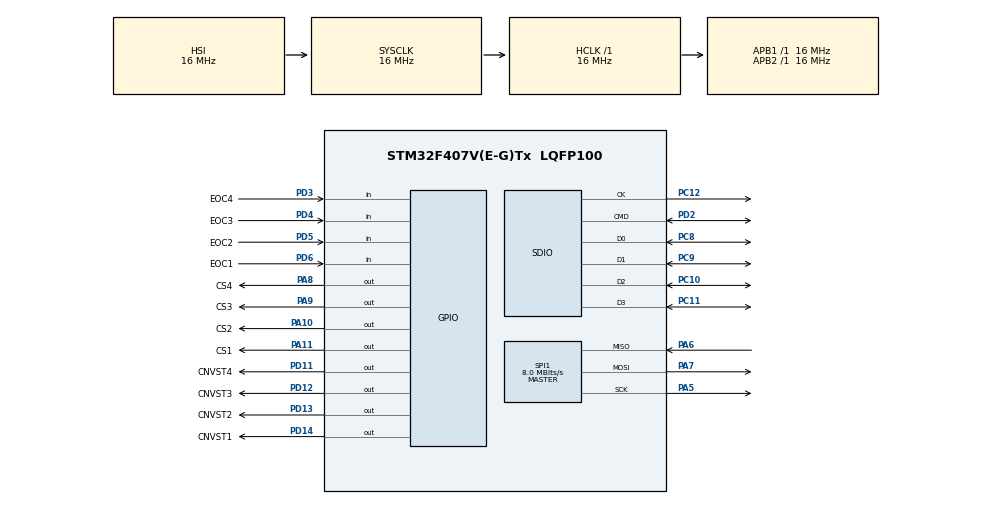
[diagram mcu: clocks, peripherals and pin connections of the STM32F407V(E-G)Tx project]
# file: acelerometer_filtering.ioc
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Dma.Request0=SDIO_RX
Dma.Request1=SPI1_RX
Dma.SDIO_RX.0.Direction=DMA_PERIPH_TO_MEMORY
Dma.SDIO_RX.0.FIFOMode=DMA_FIFOMODE_ENABLE
Dma.SDIO_RX.0.FIFOThreshold=DMA_FIFO_THRESHOLD_FULL
Dma.SDIO_RX.0.Instance=DMA2_Stream3
Dma.SDIO_RX.0.MemBurst=DMA_MBURST_INC4
Dma.SDIO_RX.0.MemDataAlignment=DMA_MDATAALIGN_WORD
Dma.SDIO_RX.0.MemInc=DMA_MINC_ENABLE
Dma.SDIO_RX.0.Mode=DMA_PFCTRL
Dma.SDIO_RX.0.PeriphBurst=DMA_PBURST_INC4
Dma.SDIO_RX.0.PeriphDataAlignment=DMA_PDATAALIGN_WORD
Dma.SDIO_RX.0.PeriphInc=DMA_PINC_DISABLE
Dma.SDIO_RX.0.Priority=DMA_PRIORITY_LOW
Dma.SPI1_RX.1.Direction=DMA_PERIPH_TO_MEMORY
Dma.SPI1_RX.1.FIFOMode=DMA_FIFOMODE_DISABLE
Dma.SPI1_RX.1.Instance=DMA2_Stream0
Dma.SPI1_RX.1.MemDataAlignment=DMA_MDATAALIGN_BYTE
Dma.SPI1_RX.1.MemInc=DMA_MINC_ENABLE
Dma.SPI1_RX.1.Mode=DMA_NORMAL
Dma.SPI1_RX.1.PeriphDataAlignment=DMA_PDATAALIGN_BYTE
Dma.SPI1_RX.1.PeriphInc=DMA_PINC_DISABLE
Dma.SPI1_RX.1.Priority=DMA_PRIORITY_LOW
Mcu.Family=STM32F4
Mcu.Name=STM32F407V(E-G)Tx
Mcu.Package=LQFP100
NVIC.DMA2_Stream0_IRQn=true\:0\:0\:false\:false\:true\:false
NVIC.DMA2_Stream3_IRQn=true\:0\:0\:false\:false\:true\:false
NVIC.PriorityGroup=NVIC_PRIORITYGROUP_4
NVIC.SDIO_IRQn=true\:0\:0\:false\:false\:true\:true
PA10.GPIO_Label=CS2
PA10.GPIO_ModeDefaultOutputPP=GPIO_MODE_OUTPUT_PP
PA10.GPIO_PuPd=GPIO_NOPULL
PA10.GPIO_Speed=GPIO_SPEED_FREQ_LOW
PA10.PinState=GPIO_PIN_RESET
PA10.Signal=GPIO_Output
PA11.GPIO_Label=CS1
PA11.GPIO_ModeDefaultOutputPP=GPIO_MODE_OUTPUT_PP
PA11.GPIO_PuPd=GPIO_NOPULL
PA11.GPIO_Speed=GPIO_SPEED_FREQ_LOW
PA11.PinState=GPIO_PIN_RESET
PA11.Signal=GPIO_Output
PA5.Mode=Full_Duplex_Master
PA5.Signal=SPI1_SCK
PA6.Mode=Full_Duplex_Master
PA6.Signal=SPI1_MISO
PA7.Mode=Full_Duplex_Master
PA7.Signal=SPI1_MOSI
PA8.GPIO_Label=CS4
PA8.GPIO_ModeDefaultOutputPP=GPIO_MODE_OUTPUT_PP
PA8.GPIO_PuPd=GPIO_NOPULL
PA8.GPIO_Speed=GPIO_SPEED_FREQ_LOW
PA8.PinState=GPIO_PIN_RESET
PA8.Signal=GPIO_Output
PA9.GPIO_Label=CS3
PA9.GPIO_ModeDefaultOutputPP=GPIO_MODE_OUTPUT_PP
PA9.GPIO_PuPd=GPIO_NOPULL
PA9.GPIO_Speed=GPIO_SPEED_FREQ_LOW
PA9.PinState=GPIO_PIN_RESET
PA9.Signal=GPIO_Output
PC10.Mode=SD_4_bits_Wide_bus
PC10.Signal=SDIO_D2
PC11.Mode=SD_4_bits_Wide_bus
PC11.Signal=SDIO_D3
PC12.Mode=SD_4_bits_Wide_bus
PC12.Signal=SDIO_CK
PC14-OSC32_IN.Mode=LSE-External-Clock-Source
PC14-OSC32_IN.Signal=RCC_OSC32_IN
PC15-OSC32_OUT.Mode=LSE-External-Clock-Source
PC15-OSC32_OUT.Signal=RCC_OSC32_OUT
PC8.Mode=SD_4_bits_Wide_bus
PC8.Signal=SDIO_D0
PC9.Mode=SD_4_bits_Wide_bus
PC9.Signal=SDIO_D1
PD11.GPIO_Label=CNVST4
PD11.GPIO_ModeDefaultOutputPP=GPIO_MODE_OUTPUT_PP
PD11.GPIO_PuPd=GPIO_NOPULL
PD11.GPIO_Speed=GPIO_SPEED_FREQ_LOW
PD11.PinState=GPIO_PIN_RESET
PD11.Signal=GPIO_Output
PD12.GPIO_Label=CNVST3
PD12.GPIO_ModeDefaultOutputPP=GPIO_MODE_OUTPUT_PP
PD12.GPIO_PuPd=GPIO_NOPULL
PD12.GPIO_Speed=GPIO_SPEED_FREQ_LOW
PD12.PinState=GPIO_PIN_RESET
PD12.Signal=GPIO_Output
PD13.GPIO_Label=CNVST2
PD13.GPIO_ModeDefaultOutputPP=GPIO_MODE_OUTPUT_PP
PD13.GPIO_PuPd=GPIO_NOPULL
PD13.GPIO_Speed=GPIO_SPEED_FREQ_LOW
PD13.PinState=GPIO_PIN_RESET
PD13.Signal=GPIO_Output
PD14.GPIO_Label=CNVST1
PD14.GPIO_ModeDefaultOutputPP=GPIO_MODE_OUTPUT_PP
PD14.GPIO_PuPd=GPIO_NOPULL
PD14.GPIO_Speed=GPIO_SPEED_FREQ_LOW
PD14.PinState=GPIO_PIN_RESET
PD14.Signal=GPIO_Output
PD2.Mode=SD_4_bits_Wide_bus
PD2.Signal=SDIO_CMD
PD3.GPIO_Label=EOC4
PD3.Signal=GPIO_Input
PD4.GPIO_Label=EOC3
PD4.Signal=GPIO_Input
PD5.GPIO_Label=EOC2
PD5.Signal=GPIO_Input
PD6.GPIO_Label=EOC1
PD6.Signal=GPIO_Input
PH0-OSC_IN.Mode=HSE-External-Oscillator
PH0-OSC_IN.Signal=RCC_OSC_IN
PH1-OSC_OUT.Mode=HSE-External-Oscillator
PH1-OSC_OUT.Signal=RCC_OSC_OUT
ProjectManager.HeapSize=0x200
ProjectManager.StackSize=0x400
ProjectManager.TargetToolchain=Makefile
RCC.AHBFreq_Value=16000000
RCC.APB1Freq_Value=16000000
RCC.APB2Freq_Value=16000000
RCC.CortexFreq_Value=16000000
RCC.HSE_VALUE=25000000
RCC.HSI_VALUE=16000000
RCC.LSE_VALUE=32768
RCC.SYSCLKFreq_VALUE=16000000
RCC.VCOOutputFreq_Value=192000000
SPI1.CalculateBaudRate=8.0 MBits/s
SPI1.Direction=SPI_DIRECTION_2LINES
SPI1.Mode=SPI_MODE_MASTER
SPI1.VirtualType=VM_MASTER
board=custom

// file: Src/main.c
/* USER CODE BEGIN Header */
/**
  ******************************************************************************
  * @file           : main.c
  * @brief          : Main program body
  ******************************************************************************
  ** This notice applies to any and all portions of this file
  * that are not between comment pairs USER CODE BEGIN and
  * USER CODE END. Other portions of this file, whether
  * inserted by the user or by software development tools
  * are owned by their respective copyright owners.
  *
  * COPYRIGHT(c) 2019 STMicroelectronics
  *
  * Redistribution and use in source and binary forms, with or without modification,
  * are permitted provided that the following conditions are met:
  *   1. Redistributions of source code must retain the above copyright notice,
  *      this list of conditions and the following disclaimer.
  *   2. Redistributions in binary form must reproduce the above copyright notice,
  *      this list of conditions and the following disclaimer in the documentation
  *      and/or other materials provided with the distribution.
  *   3. Neither the name of STMicroelectronics nor the names of its contributors
  *      may be used to endorse or promote products derived from this software
  *      without specific prior written permission.
  *
  * THIS SOFTWARE IS PROVIDED BY THE COPYRIGHT HOLDERS AND CONTRIBUTORS "AS IS"
  * AND ANY EXPRESS OR IMPLIED WARRANTIES, INCLUDING, BUT NOT LIMITED TO, THE
  * IMPLIED WARRANTIES OF MERCHANTABILITY AND FITNESS FOR A PARTICULAR PURPOSE ARE
  * DISCLAIMED. IN NO EVENT SHALL THE COPYRIGHT HOLDER OR CONTRIBUTORS BE LIABLE
  * FOR ANY DIRECT, INDIRECT, INCIDENTAL, SPECIAL, EXEMPLARY, OR CONSEQUENTIAL
  * DAMAGES (INCLUDING, BUT NOT LIMITED TO, PROCUREMENT OF SUBSTITUTE GOODS OR
  * SERVICES; LOSS OF USE, DATA, OR PROFITS; OR BUSINESS INTERRUPTION) HOWEVER
  * CAUSED AND ON ANY THEORY OF LIABILITY, WHETHER IN CONTRACT, STRICT LIABILITY,
  * OR TORT (INCLUDING NEGLIGENCE OR OTHERWISE) ARISING IN ANY WAY OUT OF THE USE
  * OF THIS SOFTWARE, EVEN IF ADVISED OF THE POSSIBILITY OF SUCH DAMAGE.
  *
  ******************************************************************************
  */
/* USER CODE END Header */

#include "main.h"

/* USER CODE BEGIN Includes */
//#include "arm_math.h"

/* USER CODE END Includes */

/* USER CODE BEGIN PD */
#define CONV_FLAG	(0x80)
#define SCAN_MODE_NONE 	(0x06)
#define SCAN_MODE_0_N  	(0x00)
#define SCAN_MODE_N_4 	(0x04)
#define CH_SEL_FLAG		(0x01 << 3)
#define SETUP_FLAG		(0x40)
#define CL_SEL			(0x01 << 4)
#define REF_SEL	(0x02 << 2)
#define SDCARDSIZE		(10)
/* USER CODE END PD */

SD_HandleTypeDef hsd;
DMA_HandleTypeDef hdma_sdio_rx;

SPI_HandleTypeDef hspi1;
DMA_HandleTypeDef hdma_spi1_rx;

/* USER CODE BEGIN PV */

uint8_t tx_buf[] = {
	0x00, 0x00, 0x00, 0x00
};
uint8_t rx_buf[4];

//uint8_t sd_buf[SDCARDSIZE] = {
//	0x41, 0x42, 0x43, 0x44, 0x45, 0x46, 0x47,0x48, 0x49, 0x4A
//};

char sd_buf[SDCARDSIZE] = "animeboobs";

uint32_t sd_card_addr = 0;

/* USER CODE END PV */

void SystemClock_Config(void);
static void MX_GPIO_Init(void);
static void MX_DMA_Init(void);
static void MX_SDIO_SD_Init(void);
static void MX_SPI1_Init(void);

int main(void)
{

  /* MCU Configuration--------------------------------------------------------*/

  /* Reset of all peripherals, Initializes the Flash interface and the Systick. */
  HAL_Init();

  /* Configure the system clock */
  SystemClock_Config();

  /* Initialize all configured peripherals */
  MX_GPIO_Init();
  MX_DMA_Init();
  MX_SDIO_SD_Init();
  MX_SPI1_Init();
  /* USER CODE BEGIN 2 */
  HAL_GPIO_WritePin(GPIOA, CS1_Pin, GPIO_PIN_SET);
  HAL_GPIO_WritePin(GPIOA, CNVST1_Pin, GPIO_PIN_SET);
  ADC_Setup(CS1_Pin);
  /* USER CODE END 2 */

  /* Infinite loop */
  while (1)
  {

    /* USER CODE BEGIN 3 */
//	  HAL_GPIO_WritePin(GPIOA, CS1_Pin, GPIO_PIN_RESET);
//	  HAL_GPIO_WritePin(GPIOA, CNVST1_Pin, GPIO_PIN_RESET);
//	 HAL_SPI_Transmit_DMA(&hspi2, &tx_buf, 2);
//	  HAL_GPIO_WritePin(GPIOA, CS1_Pin, GPIO_PIN_SET);
//	  HAL_GPIO_WritePin(GPIOA, CNVST1_Pin, GPIO_PIN_SET);
//	  HAL_GPIO_TogglePin(GPIOA, CS1_Pin);
	  read_accel(CS1_Pin);
	write_to_sd();
	 //HAL_SPI_TransmitReceive(&hspi1, &tx_buf, &rx_buf, 2, 2000);
  }
  /* USER CODE END 3 */
}

void SystemClock_Config(void)
{
  RCC_OscInitTypeDef RCC_OscInitStruct = {0};
  RCC_ClkInitTypeDef RCC_ClkInitStruct = {0};

  /**Configure the main internal regulator output voltage
  */
  __HAL_RCC_PWR_CLK_ENABLE();
  __HAL_PWR_VOLTAGESCALING_CONFIG(PWR_REGULATOR_VOLTAGE_SCALE1);
  /**Initializes the CPU, AHB and APB busses clocks
  */
  RCC_OscInitStruct.OscillatorType = RCC_OSCILLATORTYPE_HSI;
  RCC_OscInitStruct.HSIState = RCC_HSI_ON;
  RCC_OscInitStruct.HSICalibrationValue = RCC_HSICALIBRATION_DEFAULT;
  RCC_OscInitStruct.PLL.PLLState = RCC_PLL_ON;
  RCC_OscInitStruct.PLL.PLLSource = RCC_PLLSOURCE_HSI;
  RCC_OscInitStruct.PLL.PLLM = 16;
  RCC_OscInitStruct.PLL.PLLN = 192;
  RCC_OscInitStruct.PLL.PLLP = RCC_PLLP_DIV2;
  RCC_OscInitStruct.PLL.PLLQ = 4;
  if (HAL_RCC_OscConfig(&RCC_OscInitStruct) != HAL_OK)
  {
    Error_Handler();
  }
  /**Initializes the CPU, AHB and APB busses clocks
  */
  RCC_ClkInitStruct.ClockType = RCC_CLOCKTYPE_HCLK|RCC_CLOCKTYPE_SYSCLK
                              |RCC_CLOCKTYPE_PCLK1|RCC_CLOCKTYPE_PCLK2;
  RCC_ClkInitStruct.SYSCLKSource = RCC_SYSCLKSOURCE_HSI;
  RCC_ClkInitStruct.AHBCLKDivider = RCC_SYSCLK_DIV1;
  RCC_ClkInitStruct.APB1CLKDivider = RCC_HCLK_DIV1;
  RCC_ClkInitStruct.APB2CLKDivider = RCC_HCLK_DIV1;

  if (HAL_RCC_ClockConfig(&RCC_ClkInitStruct, FLASH_LATENCY_0) != HAL_OK)
  {
    Error_Handler();
  }
}

static void MX_SDIO_SD_Init(void)
{

  hsd.Instance = SDIO;
  hsd.Init.ClockEdge = SDIO_CLOCK_EDGE_RISING;
  hsd.Init.ClockBypass = SDIO_CLOCK_BYPASS_DISABLE;
  hsd.Init.ClockPowerSave = SDIO_CLOCK_POWER_SAVE_DISABLE;
  hsd.Init.BusWide = SDIO_BUS_WIDE_1B;
  hsd.Init.HardwareFlowControl = SDIO_HARDWARE_FLOW_CONTROL_DISABLE;
  hsd.Init.ClockDiv = 0;
  if (HAL_SD_Init(&hsd) != HAL_OK)
  {
    Error_Handler();
  }
  if (HAL_SD_ConfigWideBusOperation(&hsd, SDIO_BUS_WIDE_4B) != HAL_OK)
  {
    Error_Handler();
  }

}

static void MX_SPI1_Init(void)
{

  /* SPI1 parameter configuration*/
  hspi1.Instance = SPI1;
  hspi1.Init.Mode = SPI_MODE_MASTER;
  hspi1.Init.Direction = SPI_DIRECTION_2LINES;
  hspi1.Init.DataSize = SPI_DATASIZE_8BIT;
  hspi1.Init.CLKPolarity = SPI_POLARITY_LOW;
  hspi1.Init.CLKPhase = SPI_PHASE_1EDGE;
  hspi1.Init.NSS = SPI_NSS_SOFT;
  hspi1.Init.BaudRatePrescaler = SPI_BAUDRATEPRESCALER_2;
  hspi1.Init.FirstBit = SPI_FIRSTBIT_MSB;
  hspi1.Init.TIMode = SPI_TIMODE_DISABLE;
  hspi1.Init.CRCCalculation = SPI_CRCCALCULATION_DISABLE;
  hspi1.Init.CRCPolynomial = 10;
  if (HAL_SPI_Init(&hspi1) != HAL_OK)
  {
    Error_Handler();
  }

}

static void MX_DMA_Init(void)
{
  /* DMA controller clock enable */
  __HAL_RCC_DMA2_CLK_ENABLE();

  /* DMA interrupt init */
  /* DMA2_Stream0_IRQn interrupt configuration */
  HAL_NVIC_SetPriority(DMA2_Stream0_IRQn, 0, 0);
  HAL_NVIC_EnableIRQ(DMA2_Stream0_IRQn);
  /* DMA2_Stream3_IRQn interrupt configuration */
  HAL_NVIC_SetPriority(DMA2_Stream3_IRQn, 0, 0);
  HAL_NVIC_EnableIRQ(DMA2_Stream3_IRQn);

}

static void MX_GPIO_Init(void)
{
  GPIO_InitTypeDef GPIO_InitStruct = {0};

  /* GPIO Ports Clock Enable */
  __HAL_RCC_GPIOC_CLK_ENABLE();
  __HAL_RCC_GPIOH_CLK_ENABLE();
  __HAL_RCC_GPIOA_CLK_ENABLE();
  __HAL_RCC_GPIOD_CLK_ENABLE();

  /*Configure GPIO pin Output Level */
  HAL_GPIO_WritePin(GPIOD, CNVST4_Pin|CNVST3_Pin|CNVST2_Pin|CNVST1_Pin, GPIO_PIN_RESET);

  /*Configure GPIO pin Output Level */
  HAL_GPIO_WritePin(GPIOA, CS4_Pin|CS3_Pin|CS2_Pin|CS1_Pin, GPIO_PIN_RESET);

  /*Configure GPIO pins : CNVST4_Pin CNVST3_Pin CNVST2_Pin CNVST1_Pin */
  GPIO_InitStruct.Pin = CNVST4_Pin|CNVST3_Pin|CNVST2_Pin|CNVST1_Pin;
  GPIO_InitStruct.Mode = GPIO_MODE_OUTPUT_PP;
  GPIO_InitStruct.Pull = GPIO_NOPULL;
  GPIO_InitStruct.Speed = GPIO_SPEED_FREQ_LOW;
  HAL_GPIO_Init(GPIOD, &GPIO_InitStruct);

  /*Configure GPIO pins : CS4_Pin CS3_Pin CS2_Pin CS1_Pin */
  GPIO_InitStruct.Pin = CS4_Pin|CS3_Pin|CS2_Pin|CS1_Pin;
  GPIO_InitStruct.Mode = GPIO_MODE_OUTPUT_PP;
  GPIO_InitStruct.Pull = GPIO_NOPULL;
  GPIO_InitStruct.Speed = GPIO_SPEED_FREQ_LOW;
  HAL_GPIO_Init(GPIOA, &GPIO_InitStruct);

  /*Configure GPIO pins : EOC4_Pin EOC3_Pin EOC2_Pin EOC1_Pin */
  GPIO_InitStruct.Pin = EOC4_Pin|EOC3_Pin|EOC2_Pin|EOC1_Pin;
  GPIO_InitStruct.Mode = GPIO_MODE_INPUT;
  GPIO_InitStruct.Pull = GPIO_NOPULL;
  HAL_GPIO_Init(GPIOD, &GPIO_InitStruct);

}

/* USER CODE BEGIN 4 */
void ADC_Setup(uint16_t chip_select){
	uint8_t tx_buf[2];
	tx_buf[0] = CONV_FLAG | CH_SEL_FLAG | SCAN_MODE_0_N;
	tx_buf[1] = 0x48;
	HAL_GPIO_WritePin(GPIOA, chip_select, GPIO_PIN_RESET);
	HAL_SPI_Transmit(&hspi1, &tx_buf, 2, 1000);
	HAL_GPIO_WritePin(GPIOA, chip_select, GPIO_PIN_SET);

}

void read_accel(uint16_t chip_select){
	  HAL_GPIO_WritePin(GPIOA, CS1_Pin, GPIO_PIN_RESET);
	  HAL_GPIO_WritePin(GPIOA, CNVST1_Pin, GPIO_PIN_RESET);
	  HAL_SPI_TransmitReceive(&hspi1, &tx_buf, &rx_buf, 4, 1000);
	  HAL_GPIO_WritePin(GPIOA, CNVST1_Pin, GPIO_PIN_SET);
	  HAL_GPIO_WritePin(GPIOA, CS1_Pin, GPIO_PIN_SET);
	//  HAL_SPI_
}

void write_to_sd(void){
	HAL_SD_WriteBlocks(&hsd, *sd_buf, sd_card_addr, SDCARDSIZE, 2000);
//	sd_card_addr+=10;
	sd_card_addr++;

}

/* USER CODE END 4 */

void Error_Handler(void)
{
}

/************************ (C) COPYRIGHT STMicroelectronics *****END OF FILE****/
